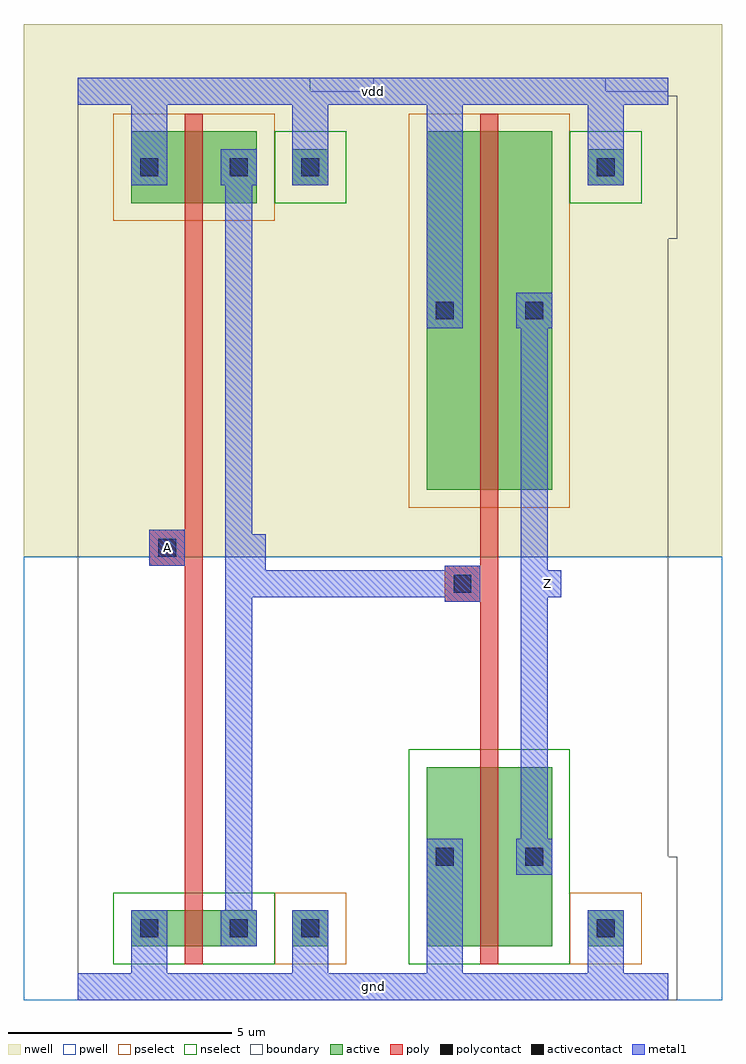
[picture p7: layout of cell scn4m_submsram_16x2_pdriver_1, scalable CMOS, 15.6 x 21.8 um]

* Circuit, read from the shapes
.subckt scn4m_submsram_16x2_pdriver_1 A Z gnd vdd
M1 scn4m_submsram_16x2_pinv_7_1/A A gnd gnd nfet w=0.8u l=0.4u
M2 Z scn4m_submsram_16x2_pinv_7_1/A gnd gnd nfet w=4u l=0.4u
M3 scn4m_submsram_16x2_pinv_7_1/A A vdd vdd pfet w=1.6u l=0.4u
M4 Z scn4m_submsram_16x2_pinv_7_1/A vdd vdd pfet w=8u l=0.4u
.ends

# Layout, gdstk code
import gdstk
lib = gdstk.Library(unit=1e-6, precision=1e-09)
def R(c, l, rs):  # rectangles x0, y0, x1, y1
    for r in rs: c.add(gdstk.rectangle(r[:2], r[2:], *l))
pwell = (41, 0)
nwell = (42, 0)
active = (43, 0)
pselect = (44, 0)
nselect = (45, 0)
poly = (46, 0)
polycontact = (47, 0)
activecontact = (48, 0)
metal1 = (49, 0)
boundary = (63, 0)

scn4m_submsram_16x2_cont = lib.new_cell('scn4m_submsram_16x2_contact_12')
R(scn4m_submsram_16x2_cont, nwell, [(-1.2,-1.2,2,2)])
R(scn4m_submsram_16x2_cont, active, [(0,0,0.8,0.8)])
R(scn4m_submsram_16x2_cont, pselect, [(-0.4,-0.4,1.2,1.2)])
R(scn4m_submsram_16x2_cont, activecontact, [(0.2,0.2,0.6,0.6)])
R(scn4m_submsram_16x2_cont, metal1, [(0,0,0.8,0.8)])
R(scn4m_submsram_16x2_cont, boundary, [(-1.2,-1.2,2,2)])

scn4m_submsram_16x2_pmos = lib.new_cell('scn4m_submsram_16x2_pmos_m1_w1_600_sm1_dm1_da_p')
R(scn4m_submsram_16x2_pmos, nwell, [(-1.2,-1.2,4,2.8)])
R(scn4m_submsram_16x2_pmos, active, [(0,0,2.8,1.6)])
R(scn4m_submsram_16x2_pmos, pselect, [(-0.4,-0.4,3.2,2)])
R(scn4m_submsram_16x2_pmos, poly, [(1.2,-0.4,1.6,2), (1.2,-0.4,1.6,2)])
R(scn4m_submsram_16x2_pmos, metal1, [(0,0.4,0.8,1.2), (2,0.4,2.8,1.2)])
R(scn4m_submsram_16x2_pmos, boundary, [(-1.2,-1.2,4,2.8)])
scn4m_submsram_16x2_pmos.add(gdstk.Reference(scn4m_submsram_16x2_cont, (0,0.4)))
scn4m_submsram_16x2_pmos.add(gdstk.Reference(scn4m_submsram_16x2_cont, (2,0.4)))
scn4m_submsram_16x2_pmos.add(gdstk.Label('G', (1.4,0.8), layer=46, texttype=0))
scn4m_submsram_16x2_pmos.add(gdstk.Label('S', (0.4,0.8), layer=49, texttype=0))
scn4m_submsram_16x2_pmos.add(gdstk.Label('D', (2.4,0.8), layer=49, texttype=0))

c_scn4m_submsram_16x2_cont = lib.new_cell('scn4m_submsram_16x2_contact_11')
R(c_scn4m_submsram_16x2_cont, pwell, [(-1.2,-1.2,2,2)])
R(c_scn4m_submsram_16x2_cont, active, [(0,0,0.8,0.8)])
R(c_scn4m_submsram_16x2_cont, nselect, [(-0.4,-0.4,1.2,1.2)])
R(c_scn4m_submsram_16x2_cont, activecontact, [(0.2,0.2,0.6,0.6)])
R(c_scn4m_submsram_16x2_cont, metal1, [(0,0,0.8,0.8)])
R(c_scn4m_submsram_16x2_cont, boundary, [(-1.2,-1.2,2,2)])

scn4m_submsram_16x2_nmos = lib.new_cell('scn4m_submsram_16x2_nmos_m1_w0_800_sm1_dm1_da_p')
R(scn4m_submsram_16x2_nmos, pwell, [(-1.2,-1.2,4,2)])
R(scn4m_submsram_16x2_nmos, active, [(0,0,2.8,0.8)])
R(scn4m_submsram_16x2_nmos, nselect, [(-0.4,-0.4,3.2,1.2)])
R(scn4m_submsram_16x2_nmos, poly, [(1.2,-0.4,1.6,1.2), (1.2,-0.4,1.6,1.2)])
R(scn4m_submsram_16x2_nmos, metal1, [(0,0,0.8,0.8), (2,0,2.8,0.8)])
R(scn4m_submsram_16x2_nmos, boundary, [(-1.2,-1.2,4,2)])
scn4m_submsram_16x2_nmos.add(gdstk.Reference(c_scn4m_submsram_16x2_cont, (0,0)))
scn4m_submsram_16x2_nmos.add(gdstk.Reference(c_scn4m_submsram_16x2_cont, (2,0)))
scn4m_submsram_16x2_nmos.add(gdstk.Label('G', (1.4,0.4), layer=46, texttype=0))
scn4m_submsram_16x2_nmos.add(gdstk.Label('S', (0.4,0.4), layer=49, texttype=0))
scn4m_submsram_16x2_nmos.add(gdstk.Label('D', (2.4,0.4), layer=49, texttype=0))

c_scn4m_submsram_16x2_cont_ = lib.new_cell('scn4m_submsram_16x2_contact_13')
R(c_scn4m_submsram_16x2_cont_, nwell, [(-1.2,-1.2,2,2)])
R(c_scn4m_submsram_16x2_cont_, active, [(0,0,0.8,0.8)])
R(c_scn4m_submsram_16x2_cont_, nselect, [(-0.4,-0.4,1.2,1.2)])
R(c_scn4m_submsram_16x2_cont_, activecontact, [(0.2,0.2,0.6,0.6)])
R(c_scn4m_submsram_16x2_cont_, metal1, [(0,0,0.8,0.8)])
R(c_scn4m_submsram_16x2_cont_, boundary, [(-1.2,-1.2,2,2)])

c_scn4m_submsram_16x2_cont__ = lib.new_cell('scn4m_submsram_16x2_contact_14')
R(c_scn4m_submsram_16x2_cont__, pwell, [(-1.2,-1.2,2,2)])
R(c_scn4m_submsram_16x2_cont__, active, [(0,0,0.8,0.8)])
R(c_scn4m_submsram_16x2_cont__, pselect, [(-0.4,-0.4,1.2,1.2)])
R(c_scn4m_submsram_16x2_cont__, activecontact, [(0.2,0.2,0.6,0.6)])
R(c_scn4m_submsram_16x2_cont__, metal1, [(0,0,0.8,0.8)])
R(c_scn4m_submsram_16x2_cont__, boundary, [(-1.2,-1.2,2,2)])

c_scn4m_submsram_16x2_cont___ = lib.new_cell('scn4m_submsram_16x2_contact_15')
R(c_scn4m_submsram_16x2_cont___, poly, [(0,0,0.8,0.8)])
R(c_scn4m_submsram_16x2_cont___, polycontact, [(0.2,0.2,0.6,0.6)])
R(c_scn4m_submsram_16x2_cont___, metal1, [(0,0,0.8,0.8)])
R(c_scn4m_submsram_16x2_cont___, boundary, [(0,0,0.8,0.8)])

scn4m_submsram_16x2_pinv = lib.new_cell('scn4m_submsram_16x2_pinv_5')
R(scn4m_submsram_16x2_pinv, pwell, [(-1.2,-0.3,7.8,9.6)])
R(scn4m_submsram_16x2_pinv, nwell, [(-1.2,9.6,7.8,21.5)])
R(scn4m_submsram_16x2_pinv, poly, [(2.4,2.1,2.8,17.1), (2,9.4,2.4,10.2)])
R(scn4m_submsram_16x2_pinv, metal1, [(0,-0.3,6.6,0.3), (1.2,-0.3,2,0.9), (4.8,0,5.6,1.3), (3.3,0.9,3.9,18.7), (1.6,9.4,2.4,10.2), (3.6,9.5,4.2,10.1), (1.2,17.9,2,20.3), (4.8,18.3,5.6,20), (0,19.7,6.6,20.3)])
R(scn4m_submsram_16x2_pinv, boundary, [(0,0,6.6,20), (0,0,6.6,20)])
scn4m_submsram_16x2_pinv.add(gdstk.Reference(scn4m_submsram_16x2_pmos, (1.2,17.5)))
scn4m_submsram_16x2_pinv.add(gdstk.Reference(scn4m_submsram_16x2_nmos, (1.2,0.9)))
scn4m_submsram_16x2_pinv.add(gdstk.Reference(c_scn4m_submsram_16x2_cont_, (4.8,17.9)))
scn4m_submsram_16x2_pinv.add(gdstk.Reference(c_scn4m_submsram_16x2_cont__, (4.8,0.9)))
scn4m_submsram_16x2_pinv.add(gdstk.Reference(c_scn4m_submsram_16x2_cont___, (1.6,9.4)))
scn4m_submsram_16x2_pinv.add(gdstk.Label('A', (2,9.8), layer=49, texttype=0))
scn4m_submsram_16x2_pinv.add(gdstk.Label('Z', (3.9,9.8), layer=49, texttype=0))
scn4m_submsram_16x2_pinv.add(gdstk.Label('gnd', (3.3,0), layer=49, texttype=0))
scn4m_submsram_16x2_pinv.add(gdstk.Label('vdd', (3.3,20), layer=49, texttype=0))

c_scn4m_submsram_16x2_pmos = lib.new_cell('scn4m_submsram_16x2_pmos_m1_w8_000_sm1_dm1_da_p')
R(c_scn4m_submsram_16x2_pmos, nwell, [(-1.2,-1.2,4,9.2)])
R(c_scn4m_submsram_16x2_pmos, active, [(0,0,2.8,8)])
R(c_scn4m_submsram_16x2_pmos, pselect, [(-0.4,-0.4,3.2,8.4)])
R(c_scn4m_submsram_16x2_pmos, poly, [(1.2,-0.4,1.6,8.4), (1.2,-0.4,1.6,8.4)])
R(c_scn4m_submsram_16x2_pmos, metal1, [(0,3.6,0.8,4.4), (2,3.6,2.8,4.4)])
R(c_scn4m_submsram_16x2_pmos, boundary, [(-1.2,-1.2,4,9.2)])
c_scn4m_submsram_16x2_pmos.add(gdstk.Reference(scn4m_submsram_16x2_cont, (0,3.6)))
c_scn4m_submsram_16x2_pmos.add(gdstk.Reference(scn4m_submsram_16x2_cont, (2,3.6)))
c_scn4m_submsram_16x2_pmos.add(gdstk.Label('G', (1.4,4), layer=46, texttype=0))
c_scn4m_submsram_16x2_pmos.add(gdstk.Label('S', (0.4,4), layer=49, texttype=0))
c_scn4m_submsram_16x2_pmos.add(gdstk.Label('D', (2.4,4), layer=49, texttype=0))

c_scn4m_submsram_16x2_nmos = lib.new_cell('scn4m_submsram_16x2_nmos_m1_w4_000_sm1_dm1_da_p')
R(c_scn4m_submsram_16x2_nmos, pwell, [(-1.2,-1.2,4,5.2)])
R(c_scn4m_submsram_16x2_nmos, active, [(0,0,2.8,4)])
R(c_scn4m_submsram_16x2_nmos, nselect, [(-0.4,-0.4,3.2,4.4)])
R(c_scn4m_submsram_16x2_nmos, poly, [(1.2,-0.4,1.6,4.4), (1.2,-0.4,1.6,4.4)])
R(c_scn4m_submsram_16x2_nmos, metal1, [(0,1.6,0.8,2.4), (2,1.6,2.8,2.4)])
R(c_scn4m_submsram_16x2_nmos, boundary, [(-1.2,-1.2,4,5.2)])
c_scn4m_submsram_16x2_nmos.add(gdstk.Reference(c_scn4m_submsram_16x2_cont, (0,1.6)))
c_scn4m_submsram_16x2_nmos.add(gdstk.Reference(c_scn4m_submsram_16x2_cont, (2,1.6)))
c_scn4m_submsram_16x2_nmos.add(gdstk.Label('G', (1.4,2), layer=46, texttype=0))
c_scn4m_submsram_16x2_nmos.add(gdstk.Label('S', (0.4,2), layer=49, texttype=0))
c_scn4m_submsram_16x2_nmos.add(gdstk.Label('D', (2.4,2), layer=49, texttype=0))

c_scn4m_submsram_16x2_pinv = lib.new_cell('scn4m_submsram_16x2_pinv_7')
R(c_scn4m_submsram_16x2_pinv, pwell, [(-1.2,-0.3,7.8,9.6)])
R(c_scn4m_submsram_16x2_pinv, nwell, [(-1.2,9.6,7.8,21.5)])
R(c_scn4m_submsram_16x2_pinv, poly, [(2.4,5.3,2.8,10.7), (2,8.6,2.4,9.4)])
R(c_scn4m_submsram_16x2_pinv, metal1, [(0,-0.3,6.6,0.3), (1.2,-0.3,2,2.5), (4.8,0,5.6,1.3), (3.3,2.5,3.9,15.5), (1.6,8.6,2.4,9.4), (3.6,8.7,4.2,9.3), (1.2,14.7,2,20.3), (4.8,18.3,5.6,20), (0,19.7,6.6,20.3)])
R(c_scn4m_submsram_16x2_pinv, boundary, [(0,0,6.6,20), (0,0,6.6,20)])
c_scn4m_submsram_16x2_pinv.add(gdstk.Reference(c_scn4m_submsram_16x2_pmos, (1.2,11.1)))
c_scn4m_submsram_16x2_pinv.add(gdstk.Reference(c_scn4m_submsram_16x2_nmos, (1.2,0.9)))
c_scn4m_submsram_16x2_pinv.add(gdstk.Reference(c_scn4m_submsram_16x2_cont_, (4.8,17.9)))
c_scn4m_submsram_16x2_pinv.add(gdstk.Reference(c_scn4m_submsram_16x2_cont__, (4.8,0.9)))
c_scn4m_submsram_16x2_pinv.add(gdstk.Reference(c_scn4m_submsram_16x2_cont___, (1.6,8.6)))
c_scn4m_submsram_16x2_pinv.add(gdstk.Label('A', (2,9), layer=49, texttype=0))
c_scn4m_submsram_16x2_pinv.add(gdstk.Label('Z', (3.9,9), layer=49, texttype=0))
c_scn4m_submsram_16x2_pinv.add(gdstk.Label('gnd', (3.3,0), layer=49, texttype=0))
c_scn4m_submsram_16x2_pinv.add(gdstk.Label('vdd', (3.3,20), layer=49, texttype=0))

scn4m_submsram_16x2_pdri = lib.new_cell('scn4m_submsram_16x2_pdriver_1')
R(scn4m_submsram_16x2_pdri, pwell, [(-1.2,-0.3,14.4,9.6)])
R(scn4m_submsram_16x2_pdri, nwell, [(-1.2,9.6,14.4,21.5)])
R(scn4m_submsram_16x2_pdri, metal1, [(0,-0.3,13.2,0.3), (3.6,8.7,4.2,9.3), (3.9,8.7,8.6,9.3), (10.2,8.7,10.8,9.3), (3.6,9,4.2,9.8), (1.6,9.4,2.4,10.2), (0,19.7,13.2,20.3)])
R(scn4m_submsram_16x2_pdri, boundary, [(0,0,13.2,20), (0,0,13.2,20)])
scn4m_submsram_16x2_pdri.add(gdstk.Reference(scn4m_submsram_16x2_pinv, (0,0)))
scn4m_submsram_16x2_pdri.add(gdstk.Reference(c_scn4m_submsram_16x2_pinv, (6.6,0)))
scn4m_submsram_16x2_pdri.add(gdstk.Label('Z', (10.5,9), layer=49, texttype=0))
scn4m_submsram_16x2_pdri.add(gdstk.Label('A', (2,9.8), layer=49, texttype=0))
scn4m_submsram_16x2_pdri.add(gdstk.Label('gnd', (6.6,0), layer=49, texttype=0))
scn4m_submsram_16x2_pdri.add(gdstk.Label('vdd', (6.6,20), layer=49, texttype=0))

lib.write_gds('scn4m_submsram_16x2_pdriver_1.gds')
